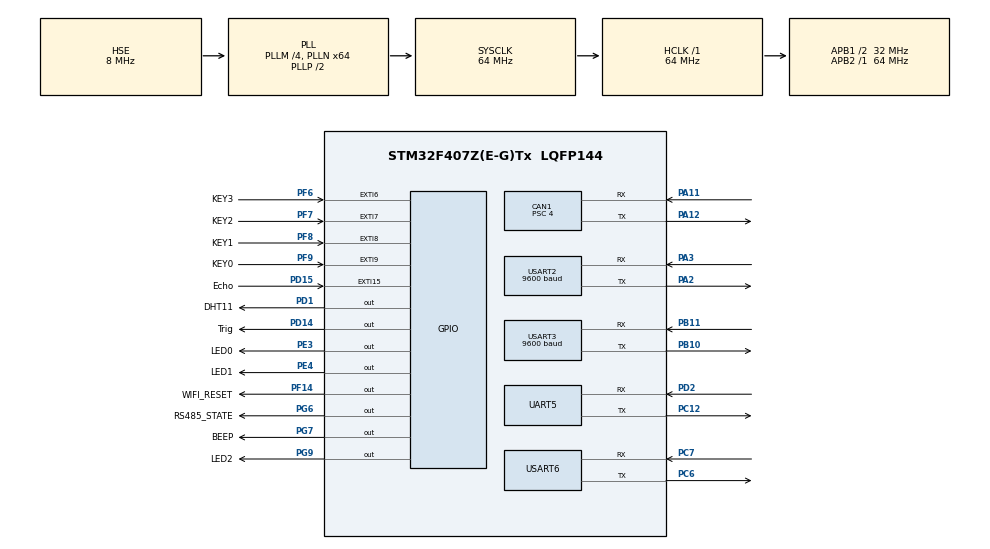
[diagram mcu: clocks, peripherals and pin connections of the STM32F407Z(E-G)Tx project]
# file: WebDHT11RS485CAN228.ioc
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CAN1.BS1=CAN_BS1_10TQ
CAN1.BS2=CAN_BS2_5TQ
CAN1.CalculateBaudRate=500000
CAN1.CalculateTimeBit=2000.00
CAN1.CalculateTimeQuantum=125.0
CAN1.Prescaler=4
CAN1.SJW=CAN_SJW_2TQ
FREERTOS.Tasks01=DHT11Task,-1,512,StartDHT11Task,Default,NULL,Dynamic,NULL,NULL;MainTask,0,128,StartMainTask,Default,NULL,Dynamic,NULL,NULL;VoiceTask,-1,128,StartVoiceTask,Default,NULL,Dynamic,NULL,NULL
Mcu.Family=STM32F4
Mcu.Name=STM32F407Z(E-G)Tx
Mcu.Package=LQFP144
NVIC.CAN1_RX0_IRQn=true\:5\:0\:false\:false\:true\:true\:true\:true
NVIC.CAN1_RX1_IRQn=true\:5\:0\:false\:false\:true\:true\:true\:true
NVIC.CAN1_SCE_IRQn=true\:5\:0\:false\:false\:true\:true\:true\:true
NVIC.CAN1_TX_IRQn=true\:5\:0\:false\:false\:true\:true\:true\:true
NVIC.EXTI15_10_IRQn=true\:5\:0\:false\:false\:true\:true\:true\:true
NVIC.EXTI9_5_IRQn=true\:5\:0\:false\:false\:true\:true\:true\:true
NVIC.PriorityGroup=NVIC_PRIORITYGROUP_4
NVIC.UART5_IRQn=true\:5\:0\:false\:false\:true\:true\:true\:true
NVIC.USART2_IRQn=true\:5\:0\:false\:false\:true\:true\:true\:true
NVIC.USART3_IRQn=true\:5\:0\:false\:false\:true\:true\:true\:true
PA11.Mode=CAN_Activate
PA11.Signal=CAN1_RX
PA12.Mode=CAN_Activate
PA12.Signal=CAN1_TX
PA2.Mode=Asynchronous
PA2.Signal=USART2_TX
PA3.Mode=Asynchronous
PA3.Signal=USART2_RX
PB10.Mode=Asynchronous
PB10.Signal=USART3_TX
PB11.Mode=Asynchronous
PB11.Signal=USART3_RX
PC12.Mode=Asynchronous
PC12.Signal=UART5_TX
PC6.Mode=Asynchronous
PC6.Signal=USART6_TX
PC7.Mode=Asynchronous
PC7.Signal=USART6_RX
PD1.GPIO_Label=DHT11
PD1.GPIO_PuPd=GPIO_NOPULL
PD1.PinState=GPIO_PIN_SET
PD1.Signal=GPIO_Output
PD14.GPIO_Label=Trig
PD14.Signal=GPIO_Output
PD15.GPIO_Label=Echo
PD15.Signal=GPXTI15
PD2.Mode=Asynchronous
PD2.Signal=UART5_RX
PE3.GPIO_Label=LED0
PE3.GPIO_PuPd=GPIO_NOPULL
PE3.PinState=GPIO_PIN_SET
PE3.Signal=GPIO_Output
PE4.GPIO_Label=LED1
PE4.PinState=GPIO_PIN_SET
PE4.Signal=GPIO_Output
PF14.GPIO_Label=WIFI_RESET
PF14.Signal=GPIO_Output
PF6.GPIO_Label=KEY3
PF6.GPIO_ModeDefaultEXTI=GPIO_MODE_IT_FALLING
PF6.GPIO_PuPd=GPIO_PULLUP
PF6.Signal=GPXTI6
PF7.GPIO_Label=KEY2
PF7.GPIO_ModeDefaultEXTI=GPIO_MODE_IT_FALLING
PF7.GPIO_PuPd=GPIO_PULLUP
PF7.Signal=GPXTI7
PF8.GPIO_Label=KEY1
PF8.GPIO_ModeDefaultEXTI=GPIO_MODE_IT_FALLING
PF8.GPIO_PuPd=GPIO_PULLUP
PF8.Signal=GPXTI8
PF9.GPIO_Label=KEY0
PF9.GPIO_ModeDefaultEXTI=GPIO_MODE_IT_FALLING
PF9.GPIO_PuPd=GPIO_PULLUP
PF9.Signal=GPXTI9
PG6.GPIO_Label=RS485_STATE
PG6.Signal=GPIO_Output
PG7.GPIO_Label=BEEP
PG7.Signal=GPIO_Output
PG9.GPIO_Label=LED2
PG9.PinState=GPIO_PIN_SET
PG9.Signal=GPIO_Output
PH0-OSC_IN.Mode=HSE-External-Oscillator
PH0-OSC_IN.Signal=RCC_OSC_IN
PH1-OSC_OUT.Mode=HSE-External-Oscillator
PH1-OSC_OUT.Signal=RCC_OSC_OUT
ProjectManager.HeapSize=0x200
ProjectManager.StackSize=0x400
ProjectManager.TargetToolchain=MDK-ARM V5.27
RCC.48MHZClocksFreq_Value=32000000
RCC.AHBFreq_Value=64000000
RCC.APB1CLKDivider=RCC_HCLK_DIV2
RCC.APB1Freq_Value=32000000
RCC.APB1TimFreq_Value=64000000
RCC.APB2Freq_Value=64000000
RCC.APB2TimFreq_Value=64000000
RCC.CortexFreq_Value=64000000
RCC.HCLKFreq_Value=64000000
RCC.HSE_VALUE=8000000
RCC.HSI_VALUE=16000000
RCC.LSE_VALUE=32768
RCC.PLLM=4
RCC.PLLN=64
RCC.PLLSourceVirtual=RCC_PLLSOURCE_HSE
RCC.SYSCLKFreq_VALUE=64000000
RCC.SYSCLKSource=RCC_SYSCLKSOURCE_PLLCLK
RCC.VCOOutputFreq_Value=128000000
TIM6.Prescaler=63
TIM7.Prescaler=63
UART5.VirtualMode=Asynchronous
USART2.BaudRate=9600
USART2.VirtualMode=VM_ASYNC
USART3.BaudRate=9600
USART3.VirtualMode=VM_ASYNC
USART6.VirtualMode=VM_ASYNC
VP_FREERTOS_VS_CMSIS_V1.Mode=CMSIS_V1
VP_TIM6_VS_ClockSourceINT.Mode=Enable_Timer
VP_TIM7_VS_ClockSourceINT.Mode=Enable_Timer
board=custom

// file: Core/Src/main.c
/* USER CODE BEGIN Header */
/**
  ******************************************************************************
  * @file           : main.c
  * @brief          : Main program body
  ******************************************************************************
  * @attention
  *
  * <h2><center>&copy; Copyright (c) 2021 STMicroelectronics.
  * All rights reserved.</center></h2>
  *
  * This software component is licensed by ST under Ultimate Liberty license
  * SLA0044, the "License"; You may not use this file except in compliance with
  * the License. You may obtain a copy of the License at:
  *                             www.st.com/SLA0044
  *
  ******************************************************************************
  */
/* USER CODE END Header */
#include "main.h"
#include "cmsis_os.h"
#include "can.h"
#include "tim.h"
#include "usart.h"
#include "gpio.h"

/* USER CODE BEGIN Includes */
#include "blue.h"
extern uint8_t rxBuffer;
/* USER CODE END Includes */

void SystemClock_Config(void);
void MX_FREERTOS_Init(void);

int main(void)
{

  /* MCU Configuration--------------------------------------------------------*/

  /* Reset of all peripherals, Initializes the Flash interface and the Systick. */
  HAL_Init();

  /* Configure the system clock */
  SystemClock_Config();

  /* Initialize all configured peripherals */
  MX_GPIO_Init();
  MX_CAN1_Init();
  MX_TIM6_Init();
  MX_USART6_UART_Init();
  MX_USART2_UART_Init();
  MX_USART3_UART_Init();
  MX_UART5_Init();
  MX_TIM7_Init();
  /* USER CODE BEGIN 2 */
   HAL_UART_Receive_IT(&blueUsart,&rxBuffer,1);
  /* USER CODE END 2 */

  /* Call init function for freertos objects (in freertos.c) */
  MX_FREERTOS_Init();
  /* Start scheduler */
  osKernelStart();

  /* We should never get here as control is now taken by the scheduler */
  /* Infinite loop */
  while (1)
  {

  }
}

void SystemClock_Config(void)
{
  RCC_OscInitTypeDef RCC_OscInitStruct = {0};
  RCC_ClkInitTypeDef RCC_ClkInitStruct = {0};

  /** Configure the main internal regulator output voltage
  */
  __HAL_RCC_PWR_CLK_ENABLE();
  __HAL_PWR_VOLTAGESCALING_CONFIG(PWR_REGULATOR_VOLTAGE_SCALE1);
  /** Initializes the RCC Oscillators according to the specified parameters
  * in the RCC_OscInitTypeDef structure.
  */
  RCC_OscInitStruct.OscillatorType = RCC_OSCILLATORTYPE_HSE;
  RCC_OscInitStruct.HSEState = RCC_HSE_ON;
  RCC_OscInitStruct.PLL.PLLState = RCC_PLL_ON;
  RCC_OscInitStruct.PLL.PLLSource = RCC_PLLSOURCE_HSE;
  RCC_OscInitStruct.PLL.PLLM = 4;
  RCC_OscInitStruct.PLL.PLLN = 64;
  RCC_OscInitStruct.PLL.PLLP = RCC_PLLP_DIV2;
  RCC_OscInitStruct.PLL.PLLQ = 4;
  if (HAL_RCC_OscConfig(&RCC_OscInitStruct) != HAL_OK)
  {
    Error_Handler();
  }
  /** Initializes the CPU, AHB and APB buses clocks
  */
  RCC_ClkInitStruct.ClockType = RCC_CLOCKTYPE_HCLK|RCC_CLOCKTYPE_SYSCLK
                              |RCC_CLOCKTYPE_PCLK1|RCC_CLOCKTYPE_PCLK2;
  RCC_ClkInitStruct.SYSCLKSource = RCC_SYSCLKSOURCE_PLLCLK;
  RCC_ClkInitStruct.AHBCLKDivider = RCC_SYSCLK_DIV1;
  RCC_ClkInitStruct.APB1CLKDivider = RCC_HCLK_DIV2;
  RCC_ClkInitStruct.APB2CLKDivider = RCC_HCLK_DIV1;

  if (HAL_RCC_ClockConfig(&RCC_ClkInitStruct, FLASH_LATENCY_2) != HAL_OK)
  {
    Error_Handler();
  }
}

void Error_Handler(void)
{
  __disable_irq();
  while (1)
  {
  }
}

/************************ (C) COPYRIGHT STMicroelectronics *****END OF FILE****/

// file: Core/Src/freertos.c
/* USER CODE BEGIN Header */
/**
  ******************************************************************************
  * File Name          : freertos.c
  * Description        : Code for freertos applications
  ******************************************************************************
  * @attention
  *
  * <h2><center>&copy; Copyright (c) 2021 STMicroelectronics.
  * All rights reserved.</center></h2>
  *
  * This software component is licensed by ST under Ultimate Liberty license
  * SLA0044, the "License"; You may not use this file except in compliance with
  * the License. You may obtain a copy of the License at:
  *                             www.st.com/SLA0044
  *
  ******************************************************************************
  */
/* USER CODE END Header */

#include "FreeRTOS.h"
#include "task.h"
#include "main.h"
#include "cmsis_os.h"

/* USER CODE BEGIN Includes */
#include "blue.h"
#include "RS485.h"
#include "dht11.h"
#include "hr04.h"

extern uint8_t RS485_receive_str[];
extern int key_value;
extern char rxBuff[];

char DHT11_buffer[128];
char blue_sendmsg[32];
char blue_sendmsg1[32];
char RS485_receivemsg[32];

double distance;

DHT11_Data_TypeDef DHT11_Data;

/* USER CODE END Includes */

osThreadId DHT11TaskHandle;
osThreadId MainTaskHandle;
osThreadId VoiceTaskHandle;

void StartDHT11Task(void const * argument);
void StartMainTask(void const * argument);
void StartVoiceTask(void const * argument);

void MX_FREERTOS_Init(void); /* (MISRA C 2004 rule 8.1) */

/* GetIdleTaskMemory prototype (linked to static allocation support) */
void vApplicationGetIdleTaskMemory( StaticTask_t **ppxIdleTaskTCBBuffer, StackType_t **ppxIdleTaskStackBuffer, uint32_t *pulIdleTaskStackSize );

/* USER CODE BEGIN GET_IDLE_TASK_MEMORY */
static StaticTask_t xIdleTaskTCBBuffer;
static StackType_t xIdleStack[configMINIMAL_STACK_SIZE];

void vApplicationGetIdleTaskMemory( StaticTask_t **ppxIdleTaskTCBBuffer, StackType_t **ppxIdleTaskStackBuffer, uint32_t *pulIdleTaskStackSize )
{
  *ppxIdleTaskTCBBuffer = &xIdleTaskTCBBuffer;
  *ppxIdleTaskStackBuffer = &xIdleStack[0];
  *pulIdleTaskStackSize = configMINIMAL_STACK_SIZE;
  /* place for user code */
}
/* USER CODE END GET_IDLE_TASK_MEMORY */

void MX_FREERTOS_Init(void) {

  /* Create the thread(s) */
  /* definition and creation of DHT11Task */
  osThreadDef(DHT11Task, StartDHT11Task, osPriorityNormal, 0, 512);
  DHT11TaskHandle = osThreadCreate(osThread(DHT11Task), NULL);

  /* definition and creation of MainTask */
  osThreadDef(MainTask, StartMainTask, osPriorityIdle, 0, 512);
  MainTaskHandle = osThreadCreate(osThread(MainTask), NULL);

  /* definition and creation of VoiceTask */
  osThreadDef(VoiceTask, StartVoiceTask, osPriorityBelowNormal, 0, 512);
  VoiceTaskHandle = osThreadCreate(osThread(VoiceTask), NULL);

}

void StartDHT11Task(void const * argument)
{
  /* USER CODE BEGIN StartDHT11Task */
  /* Infinite loop */
  for(;;)
  {
    osDelay(1000);
	if(DHT11_Read_TempAndHumidity(&DHT11_Data)==SUCCESS)
    {
      sprintf(DHT11_buffer,"%.0f,%.1f",DHT11_Data.humidity,DHT11_Data.temperature);
 	  rs485_sendData(DHT11_buffer, strlen(DHT11_buffer));
	  memset(RS485_receivemsg, 0, 32);
    }
  }
  /* USER CODE END StartDHT11Task */
}

void StartMainTask(void const * argument)
{
  /* USER CODE BEGIN StartMainTask */
	osThreadSuspend(DHT11TaskHandle);
	osThreadSuspend(VoiceTaskHandle);
	init_rs485();
  /* Infinite loop */
  for(;;)
  {
	  osDelay(1000);
	  switch(key_value)
	  {
		  case 0:
		  {
			  osThreadResume(DHT11TaskHandle);
		  }
		  case 1:
		  {
			  osThreadSuspend(DHT11TaskHandle);
		  }
		  case 2:
		  {
			  osThreadResume(VoiceTaskHandle);
		  }
		  case 3:
		  {
			  osThreadSuspend(VoiceTaskHandle);
		  }
	  }
	  printf("blutooth接收到的数据为：%s\r\n",rxBuff);
	  if(strcmp("OLED",rxBuff)==0)
	  {
		  LED2_ON();
		  rs485_sendData("OL", strlen("OL"));

	  }else if(strcmp("CLED",rxBuff)==0)
	  {
		  LED2_OFF();
		  rs485_sendData("CL", strlen("CL"));
	  }else if(strcmp("OBEEP",rxBuff)==0)
	  {
		  BEEP_ON();
		  rs485_sendData("OB", strlen("OB"));
	  }else if(strcmp("CBEEP",rxBuff)==0)
	  {
		  BEEP_OFF();
		  rs485_sendData("CB", strlen("CB"));
	  }
	  get_message((char*)RS485_receivemsg);
	  if(strlen(RS485_receivemsg)!=2)
	  {
		  sprintf(blue_sendmsg,"#,2,%.1f,%s,$",distance,RS485_receivemsg);
		  blue_send(blue_sendmsg);
		  printf("%s\r\n",blue_sendmsg);
	  }else {
	  if(strcmp("OL",RS485_receivemsg)==0)
	  {
		  LED2_ON();

	  }else if(strcmp("CL",RS485_receivemsg)==0)
	  {
		  LED2_OFF();
	  }else if(strcmp("OB",RS485_receivemsg)==0)
	  {
		  BEEP_ON();
	  }else if(strcmp("CB",RS485_receivemsg)==0)
	  {
		  BEEP_OFF();
	  }
	  }

  }
  /* USER CODE END StartMainTask */
}

void StartVoiceTask(void const * argument)
{
  /* USER CODE BEGIN StartVoiceTask */
  /* Infinite loop */
  for(;;)
  {
    distance=Hcsr04_StateRead();
  //  blue_send(blue_sendmsg);
    printf("距离是：%lf\r\n",distance);
    osDelay(777);
  }
  /* USER CODE END StartVoiceTask */
}

/************************ (C) COPYRIGHT STMicroelectronics *****END OF FILE****/
